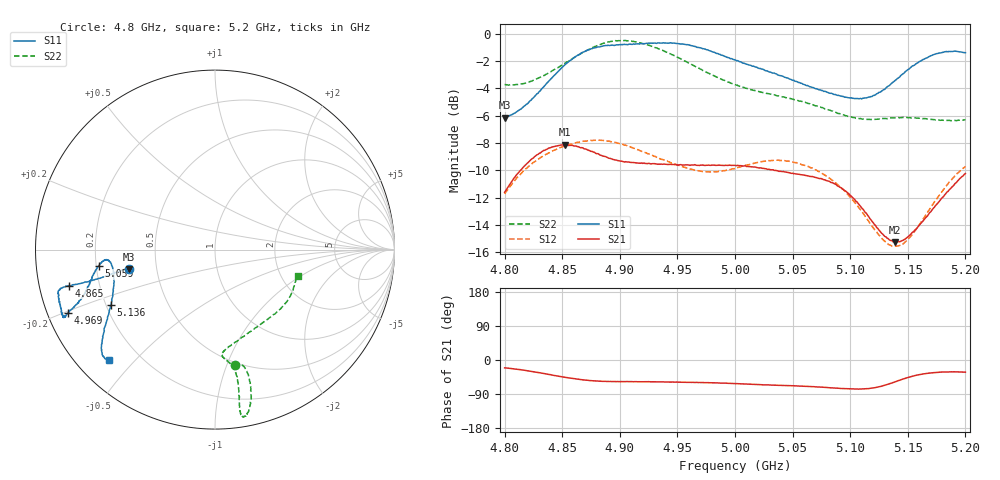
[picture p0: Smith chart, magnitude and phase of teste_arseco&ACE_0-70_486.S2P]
! Network Analyzer HP8722D
! Hewlett-Packard
! Data name: Linha & Wilkinson
! Saver's name: Rodrigo Anjos
! Comments: Teste da utilização de aquisição
! continua pelo VNA HP8722D
! Time and date: 8/5/2025 16:48
!  Frequency  S11  S21  S12  S22
# HZ  S  MA R 50
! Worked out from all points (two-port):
!   401 points, 4.8 GHz to 5.2 GHz, reference 50 ohm
!   highest |S21| = -8.12 dB at 4.852 GHz (marker M1); lowest = -15.2 dB at 5.139 GHz (marker M2)
!   |S21| within 3 dB of the highest: 4.804 GHz to 5.089 GHz (285.3 MHz wide, 5.77 % of centre); 5.189439 GHz to end of sweep
!   lowest |S11| = -6.1 dB at 4.8 GHz (marker M3), VSWR 2.95, Z = 17.2 - j4.91 ohm
!   |S11| at or under -10 dB: nowhere
!   |S22| runs from -6.4 to -0.5 dB; largest |S21 - S12| = 0.62
!   S11 on the Smith chart (normalised r, x): 4.8 GHz: 0.34, -0.10; 4.865 GHz: 0.09, -0.12; 4.969 GHz: 0.06, -0.21; 5.059 GHz: 0.21, -0.07; 5.136 GHz: 0.22, -0.24; 5.2 GHz: 0.09, -0.42
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4.8e9  0.4933 -167.3  0.2632 -20.9  0.2598 -141.9  0.6525 -80.2
4.826e9  0.5893 -166.7  0.3552 -31.4  0.3402 -146.2  0.6785 -75.9
4.852e9  0.7674 -165.9  0.3925 -45.6  0.3885 -150.8  0.7782 -75.3
4.865e9  0.8398 -166.2  0.3845 -51.2  0.4017 -152.9  0.8401 -76.1
4.867e9  0.8527 -166.1  0.3832 -52.0  0.4032 -153.2  0.8508 -76.3
4.886e9  0.9038 -165.1  0.3565 -56.3  0.407 -156.0  0.924 -78.4
4.901e9  0.9131 -162.5  0.3419 -56.9  0.3955 -157.4  0.9449 -80.2
4.934e9  0.9256 -156.7  0.3336 -57.8  0.3513 -156.0  0.8791 -81.1
4.969e9  0.8901 -156.6  0.3298 -59.4  0.3149 -147.6  0.7473 -80.3
5e9  0.8033 -159.4  0.3302 -62.3  0.3222 -137.8  0.651 -81.8
5.035e9  0.7145 -166.0  0.3165 -66.6  0.3447 -135.2  0.5959 -86.0
5.059e9  0.6541 -171.9  0.3044 -69.2  0.3313 -137.2  0.5627 -84.5
5.067e9  0.6363 -173.6  0.3006 -70.2  0.3231 -137.8  0.5509 -82.7
5.082e9  0.6064 -174.7  0.2885 -73.0  0.2961 -139.3  0.5261 -76.8
5.099e9  0.5831 -172.1  0.2596 -76.2  0.2552 -139.5  0.4982 -67.2
5.116e9  0.5864 -164.2  0.2146 -75.5  0.2062 -135.0  0.4861 -54.8
5.134e9  0.6463 -153.1  0.1762 -62.9  0.1688 -118.4  0.4911 -42.7
5.136e9  0.6595 -151.9  0.1754 -60.9  0.1674 -115.8  0.4919 -41.6
5.139e9  0.6748 -150.5  0.1734 -57.6  0.1673 -111.8  0.4927 -39.8
5.152e9  0.7491 -145.0  0.1837 -44.5  0.1804 -95.6  0.493 -33.1
5.172e9  0.8376 -139.1  0.2295 -33.5  0.2383 -81.1  0.4857 -24.4
5.2e9  0.8525 -133.9  0.3083 -32.1  0.3273 -77.8  0.485 -17.6
